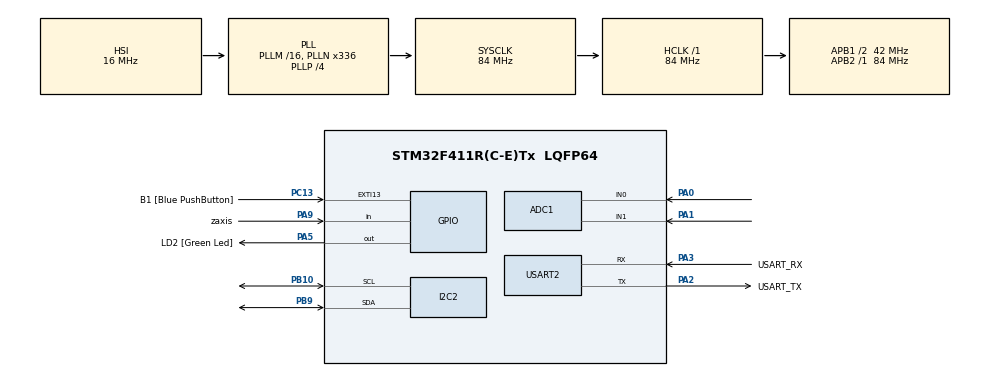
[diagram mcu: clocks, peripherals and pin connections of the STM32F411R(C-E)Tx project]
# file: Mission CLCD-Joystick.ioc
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ADC1.Channel-0\#ChannelRegularConversion=ADC_CHANNEL_1
ADC1.Channel-1\#ChannelRegularConversion=ADC_CHANNEL_0
ADC1.DiscontinuousConvMode=ENABLE
ADC1.ExternalTrigConv=ADC_EXTERNALTRIGCONV_T3_TRGO
ADC1.InjNumberOfConversion=0
ADC1.NbrOfConversion=2
ADC1.NbrOfConversionFlag=1
ADC1.NbrOfDiscConversion=1
ADC1.Rank-0\#ChannelRegularConversion=1
ADC1.Rank-1\#ChannelRegularConversion=2
ADC1.SamplingTime-0\#ChannelRegularConversion=ADC_SAMPLETIME_3CYCLES
ADC1.SamplingTime-1\#ChannelRegularConversion=ADC_SAMPLETIME_3CYCLES
ADC1.ScanConvMode=ENABLE
ADC1.master=1
Dma.ADC1.0.Direction=DMA_PERIPH_TO_MEMORY
Dma.ADC1.0.FIFOMode=DMA_FIFOMODE_DISABLE
Dma.ADC1.0.Instance=DMA2_Stream0
Dma.ADC1.0.MemDataAlignment=DMA_MDATAALIGN_HALFWORD
Dma.ADC1.0.MemInc=DMA_MINC_ENABLE
Dma.ADC1.0.Mode=DMA_CIRCULAR
Dma.ADC1.0.PeriphDataAlignment=DMA_PDATAALIGN_HALFWORD
Dma.ADC1.0.PeriphInc=DMA_PINC_DISABLE
Dma.ADC1.0.Priority=DMA_PRIORITY_LOW
Dma.Request0=ADC1
Mcu.Family=STM32F4
Mcu.Name=STM32F411R(C-E)Tx
Mcu.Package=LQFP64
NVIC.DMA2_Stream0_IRQn=true\:0\:0\:false\:false\:true\:false\:true\:true
NVIC.PriorityGroup=NVIC_PRIORITYGROUP_0
PA0-WKUP.Signal=ADCx_IN0
PA1.Signal=ADCx_IN1
PA14.GPIO_Label=TCK
PA14.Signal=SYS_JTCK-SWCLK
PA2.GPIO_Label=USART_TX
PA2.Mode=Asynchronous
PA2.Signal=USART2_TX
PA3.GPIO_Label=USART_RX
PA3.Mode=Asynchronous
PA3.Signal=USART2_RX
PA5.GPIO_Label=LD2 [Green Led]
PA5.Signal=GPIO_Output
PA9.GPIO_Label=zaxis
PA9.GPIO_PuPd=GPIO_PULLUP
PA9.Signal=GPIO_Input
PB10.Mode=I2C
PB10.Signal=I2C2_SCL
PB3.GPIO_Label=SWO
PB3.Signal=SYS_JTDO-SWO
PB9.Mode=I2C
PB9.Signal=I2C2_SDA
PC13-ANTI_TAMP.GPIO_Label=B1 [Blue PushButton]
PC13-ANTI_TAMP.GPIO_ModeDefaultEXTI=GPIO_MODE_IT_FALLING
PC13-ANTI_TAMP.Signal=GPXTI13
PC14-OSC32_IN.Mode=LSE-External-Oscillator
PC14-OSC32_IN.Signal=RCC_OSC32_IN
PC15-OSC32_OUT.Mode=LSE-External-Oscillator
PC15-OSC32_OUT.Signal=RCC_OSC32_OUT
PH0\ -\ OSC_IN.Mode=HSE-External-Clock-Source
PH0\ -\ OSC_IN.Signal=RCC_OSC_IN
PH1\ -\ OSC_OUT.Mode=HSE-External-Clock-Source
PH1\ -\ OSC_OUT.Signal=RCC_OSC_OUT
ProjectManager.HeapSize=0x200
ProjectManager.StackSize=0x400
ProjectManager.TargetToolchain=STM32CubeIDE
RCC.48MHZClocksFreq_Value=84000000
RCC.AHBFreq_Value=84000000
RCC.APB1CLKDivider=RCC_HCLK_DIV2
RCC.APB1Freq_Value=42000000
RCC.APB1TimFreq_Value=84000000
RCC.APB2Freq_Value=84000000
RCC.APB2TimFreq_Value=84000000
RCC.CortexFreq_Value=84000000
RCC.FLatency-AdvancedSettings=FLASH_LATENCY_2
RCC.HCLKFreq_Value=84000000
RCC.HSE_VALUE=8000000
RCC.HSI_VALUE=16000000
RCC.PLLN=336
RCC.PLLP=RCC_PLLP_DIV4
RCC.SYSCLKFreq_VALUE=84000000
RCC.SYSCLKSource=RCC_SYSCLKSOURCE_PLLCLK
RCC.VCOOutputFreq_Value=336000000
SH.ADCx_IN0.0=ADC1_IN0,IN0
SH.ADCx_IN1.0=ADC1_IN1,IN1
TIM3.Period=1000-1
TIM3.Prescaler=4200-1
TIM3.TIM_MasterOutputTrigger=TIM_TRGO_UPDATE
USART2.VirtualMode=VM_ASYNC
VP_TIM3_VS_ClockSourceINT.Mode=Internal
board=NUCLEO-F411RE

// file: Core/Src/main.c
/* USER CODE BEGIN Header */
/**
  ******************************************************************************
  * @file           : main.c
  * @brief          : Main program body
  ******************************************************************************
  * @attention
  *
  * Copyright (c) 2024 STMicroelectronics.
  * All rights reserved.
  *
  * This software is licensed under terms that can be found in the LICENSE file
  * in the root directory of this software component.
  * If no LICENSE file comes with this software, it is provided AS-IS.
  *
  ******************************************************************************
  */
/* USER CODE END Header */
#include "main.h"

/* USER CODE BEGIN Includes */
#include "C:\Users\user\STM32Cube\Repository\STM32Cube_FW_F4_V1.28.1\Drivers\STM32F4xx_HAL_Driver\Inc\stm32f4xx_hal_i2c.h"

/* USER CODE END Includes */

ADC_HandleTypeDef hadc1;
DMA_HandleTypeDef hdma_adc1;

I2C_HandleTypeDef hi2c2;

TIM_HandleTypeDef htim3;

UART_HandleTypeDef huart2;

void SystemClock_Config(void);
static void MX_GPIO_Init(void);
static void MX_DMA_Init(void);
static void MX_USART2_UART_Init(void);
static void MX_ADC1_Init(void);
static void MX_I2C2_Init(void);
static void MX_TIM3_Init(void);

/* USER CODE BEGIN 0 */
unsigned short val[2];

/* USER CODE END 0 */

int main(void)
{

  /* MCU Configuration--------------------------------------------------------*/

  /* Reset of all peripherals, Initializes the Flash interface and the Systick. */
  HAL_Init();

  /* Configure the system clock */
  SystemClock_Config();

  /* Initialize all configured peripherals */
  MX_GPIO_Init();
  MX_DMA_Init();
  MX_USART2_UART_Init();
  MX_ADC1_Init();
  MX_I2C2_Init();
  MX_TIM3_Init();
  /* USER CODE BEGIN 2 */
  ProgramStart("LCD1602 - Mission");

  i2c_init(&hi2c2);
  i2c_scan();

  lcd_init(); HAL_Delay(100);

  char buffer [15];

  /* USER CODE END 2 */

  /* Infinite loop */
  /* USER CODE BEGIN WHILE */
  while (1)
  {
		HAL_ADC_Start_DMA(&hadc1, val, 2);
		HAL_TIM_Base_Start(&htim3);

		double tm = (240.0/4096.0) * val[0]- 40.0;	//float caaculating should take a point (.)
		double hm = (100.0/4096.0) * val[1];
	  sprintf( buffer, "Temp : %-6.1f", tm);  //buffer : word save space
	  lcd_printEx(buffer, 0);
	  HAL_Delay(150);
	  sprintf( buffer, "Humi : %-4.1f", hm);  //4.1 : 1 in 4 is decimal
	  lcd_printEx(buffer, 1);
	  HAL_Delay(150);
    /* USER CODE END WHILE */

  }
}

void SystemClock_Config(void)
{
  RCC_OscInitTypeDef RCC_OscInitStruct = {0};
  RCC_ClkInitTypeDef RCC_ClkInitStruct = {0};

  /** Configure the main internal regulator output voltage
  */
  __HAL_RCC_PWR_CLK_ENABLE();
  __HAL_PWR_VOLTAGESCALING_CONFIG(PWR_REGULATOR_VOLTAGE_SCALE1);

  /** Initializes the RCC Oscillators according to the specified parameters
  * in the RCC_OscInitTypeDef structure.
  */
  RCC_OscInitStruct.OscillatorType = RCC_OSCILLATORTYPE_HSI;
  RCC_OscInitStruct.HSIState = RCC_HSI_ON;
  RCC_OscInitStruct.HSICalibrationValue = RCC_HSICALIBRATION_DEFAULT;
  RCC_OscInitStruct.PLL.PLLState = RCC_PLL_ON;
  RCC_OscInitStruct.PLL.PLLSource = RCC_PLLSOURCE_HSI;
  RCC_OscInitStruct.PLL.PLLM = 16;
  RCC_OscInitStruct.PLL.PLLN = 336;
  RCC_OscInitStruct.PLL.PLLP = RCC_PLLP_DIV4;
  RCC_OscInitStruct.PLL.PLLQ = 4;
  if (HAL_RCC_OscConfig(&RCC_OscInitStruct) != HAL_OK)
  {
    Error_Handler();
  }

  /** Initializes the CPU, AHB and APB buses clocks
  */
  RCC_ClkInitStruct.ClockType = RCC_CLOCKTYPE_HCLK|RCC_CLOCKTYPE_SYSCLK
                              |RCC_CLOCKTYPE_PCLK1|RCC_CLOCKTYPE_PCLK2;
  RCC_ClkInitStruct.SYSCLKSource = RCC_SYSCLKSOURCE_PLLCLK;
  RCC_ClkInitStruct.AHBCLKDivider = RCC_SYSCLK_DIV1;
  RCC_ClkInitStruct.APB1CLKDivider = RCC_HCLK_DIV2;
  RCC_ClkInitStruct.APB2CLKDivider = RCC_HCLK_DIV1;

  if (HAL_RCC_ClockConfig(&RCC_ClkInitStruct, FLASH_LATENCY_2) != HAL_OK)
  {
    Error_Handler();
  }
}

static void MX_ADC1_Init(void)
{

  ADC_ChannelConfTypeDef sConfig = {0};

  /** Configure the global features of the ADC (Clock, Resolution, Data Alignment and number of conversion)
  */
  hadc1.Instance = ADC1;
  hadc1.Init.ClockPrescaler = ADC_CLOCK_SYNC_PCLK_DIV4;
  hadc1.Init.Resolution = ADC_RESOLUTION_12B;
  hadc1.Init.ScanConvMode = ENABLE;
  hadc1.Init.ContinuousConvMode = DISABLE;
  hadc1.Init.DiscontinuousConvMode = ENABLE;
  hadc1.Init.NbrOfDiscConversion = 1;
  hadc1.Init.ExternalTrigConvEdge = ADC_EXTERNALTRIGCONVEDGE_RISING;
  hadc1.Init.ExternalTrigConv = ADC_EXTERNALTRIGCONV_T3_TRGO;
  hadc1.Init.DataAlign = ADC_DATAALIGN_RIGHT;
  hadc1.Init.NbrOfConversion = 2;
  hadc1.Init.DMAContinuousRequests = DISABLE;
  hadc1.Init.EOCSelection = ADC_EOC_SINGLE_CONV;
  if (HAL_ADC_Init(&hadc1) != HAL_OK)
  {
    Error_Handler();
  }

  /** Configure for the selected ADC regular channel its corresponding rank in the sequencer and its sample time.
  */
  sConfig.Channel = ADC_CHANNEL_1;
  sConfig.Rank = 1;
  sConfig.SamplingTime = ADC_SAMPLETIME_3CYCLES;
  if (HAL_ADC_ConfigChannel(&hadc1, &sConfig) != HAL_OK)
  {
    Error_Handler();
  }

  /** Configure for the selected ADC regular channel its corresponding rank in the sequencer and its sample time.
  */
  sConfig.Channel = ADC_CHANNEL_0;
  sConfig.Rank = 2;
  if (HAL_ADC_ConfigChannel(&hadc1, &sConfig) != HAL_OK)
  {
    Error_Handler();
  }

}

static void MX_I2C2_Init(void)
{

  hi2c2.Instance = I2C2;
  hi2c2.Init.ClockSpeed = 100000;
  hi2c2.Init.DutyCycle = I2C_DUTYCYCLE_2;
  hi2c2.Init.OwnAddress1 = 0;
  hi2c2.Init.AddressingMode = I2C_ADDRESSINGMODE_7BIT;
  hi2c2.Init.DualAddressMode = I2C_DUALADDRESS_DISABLE;
  hi2c2.Init.OwnAddress2 = 0;
  hi2c2.Init.GeneralCallMode = I2C_GENERALCALL_DISABLE;
  hi2c2.Init.NoStretchMode = I2C_NOSTRETCH_DISABLE;
  if (HAL_I2C_Init(&hi2c2) != HAL_OK)
  {
    Error_Handler();
  }

}

static void MX_TIM3_Init(void)
{

  TIM_ClockConfigTypeDef sClockSourceConfig = {0};
  TIM_MasterConfigTypeDef sMasterConfig = {0};

  htim3.Instance = TIM3;
  htim3.Init.Prescaler = 4200-1;
  htim3.Init.CounterMode = TIM_COUNTERMODE_UP;
  htim3.Init.Period = 1000-1;
  htim3.Init.ClockDivision = TIM_CLOCKDIVISION_DIV1;
  htim3.Init.AutoReloadPreload = TIM_AUTORELOAD_PRELOAD_DISABLE;
  if (HAL_TIM_Base_Init(&htim3) != HAL_OK)
  {
    Error_Handler();
  }
  sClockSourceConfig.ClockSource = TIM_CLOCKSOURCE_INTERNAL;
  if (HAL_TIM_ConfigClockSource(&htim3, &sClockSourceConfig) != HAL_OK)
  {
    Error_Handler();
  }
  sMasterConfig.MasterOutputTrigger = TIM_TRGO_UPDATE;
  sMasterConfig.MasterSlaveMode = TIM_MASTERSLAVEMODE_DISABLE;
  if (HAL_TIMEx_MasterConfigSynchronization(&htim3, &sMasterConfig) != HAL_OK)
  {
    Error_Handler();
  }

}

static void MX_USART2_UART_Init(void)
{

  huart2.Instance = USART2;
  huart2.Init.BaudRate = 115200;
  huart2.Init.WordLength = UART_WORDLENGTH_8B;
  huart2.Init.StopBits = UART_STOPBITS_1;
  huart2.Init.Parity = UART_PARITY_NONE;
  huart2.Init.Mode = UART_MODE_TX_RX;
  huart2.Init.HwFlowCtl = UART_HWCONTROL_NONE;
  huart2.Init.OverSampling = UART_OVERSAMPLING_16;
  if (HAL_UART_Init(&huart2) != HAL_OK)
  {
    Error_Handler();
  }

}

static void MX_DMA_Init(void)
{

  /* DMA controller clock enable */
  __HAL_RCC_DMA2_CLK_ENABLE();

  /* DMA interrupt init */
  /* DMA2_Stream0_IRQn interrupt configuration */
  HAL_NVIC_SetPriority(DMA2_Stream0_IRQn, 0, 0);
  HAL_NVIC_EnableIRQ(DMA2_Stream0_IRQn);

}

static void MX_GPIO_Init(void)
{
  GPIO_InitTypeDef GPIO_InitStruct = {0};

  /* GPIO Ports Clock Enable */
  __HAL_RCC_GPIOC_CLK_ENABLE();
  __HAL_RCC_GPIOH_CLK_ENABLE();
  __HAL_RCC_GPIOA_CLK_ENABLE();
  __HAL_RCC_GPIOB_CLK_ENABLE();

  /*Configure GPIO pin Output Level */
  HAL_GPIO_WritePin(LD2_GPIO_Port, LD2_Pin, GPIO_PIN_RESET);

  /*Configure GPIO pin : B1_Pin */
  GPIO_InitStruct.Pin = B1_Pin;
  GPIO_InitStruct.Mode = GPIO_MODE_IT_FALLING;
  GPIO_InitStruct.Pull = GPIO_NOPULL;
  HAL_GPIO_Init(B1_GPIO_Port, &GPIO_InitStruct);

  /*Configure GPIO pin : LD2_Pin */
  GPIO_InitStruct.Pin = LD2_Pin;
  GPIO_InitStruct.Mode = GPIO_MODE_OUTPUT_PP;
  GPIO_InitStruct.Pull = GPIO_NOPULL;
  GPIO_InitStruct.Speed = GPIO_SPEED_FREQ_LOW;
  HAL_GPIO_Init(LD2_GPIO_Port, &GPIO_InitStruct);

  /*Configure GPIO pin : zaxis_Pin */
  GPIO_InitStruct.Pin = zaxis_Pin;
  GPIO_InitStruct.Mode = GPIO_MODE_INPUT;
  GPIO_InitStruct.Pull = GPIO_PULLUP;
  HAL_GPIO_Init(zaxis_GPIO_Port, &GPIO_InitStruct);

}

void Error_Handler(void)
{
  __disable_irq();
  while (1)
  {
  }
}
